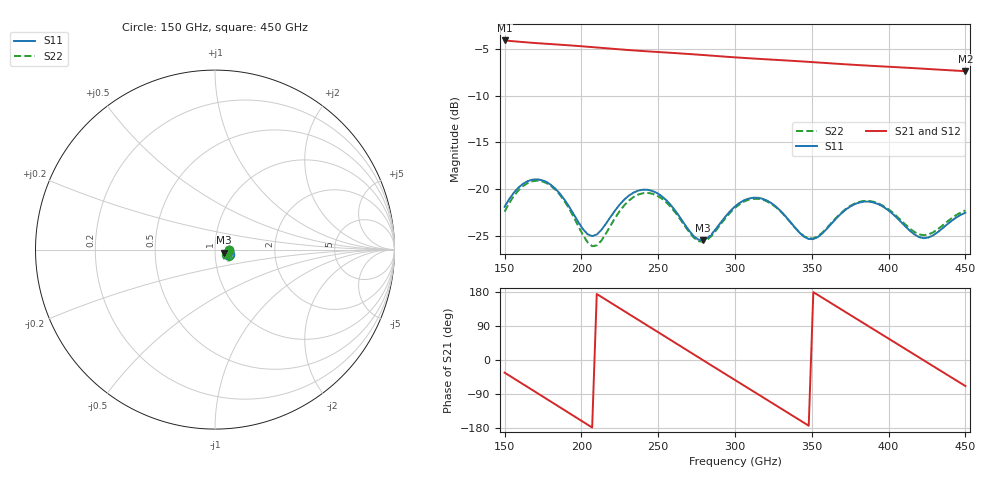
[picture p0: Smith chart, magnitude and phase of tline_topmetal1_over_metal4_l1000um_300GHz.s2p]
#  GHZ S DB R 50
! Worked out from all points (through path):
!   101 points, 150 GHz to 450 GHz, reference 50 ohm
!   highest |S21| = -4.07 dB at 150 GHz (marker M1); lowest = -7.4 dB at 450 GHz (marker M2)
!   group delay of S21, straight-line fit = 6.99 ps
!   lowest |S11| = -25.5 dB at 279 GHz (marker M3), VSWR 1.11, Z = 55.3 - j1.82 ohm
!   |S11| at or under -10 dB: start of sweep to end of sweep
!   |S22| runs from -26.1 to -19.1 dB; largest |S21 - S12| = 6.4e-14
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150  -21.90 -0.6  -4.07 -33.4  -4.07 -33.4  -22.42 -1.0
162  -19.44 -9.4  -4.24 -63.8  -4.24 -63.8  -19.68 -10.0
174  -19.03 -24.3  -4.39 -94.2  -4.39 -94.2  -19.16 -26.0
186  -20.49 -37.1  -4.53 -124.7  -4.53 -124.7  -20.61 -40.4
201  -24.30 -33.6  -4.71 -162.9  -4.71 -162.9  -24.93 -39.4
210  -24.88 -14.8  -4.82 174.2  -4.82 174.2  -26.05 -17.4
231  -20.69 -8.8  -5.10 121.1  -5.10 121.1  -21.23 -7.1
252  -20.73 -30.8  -5.33 68.2  -5.33 68.2  -20.98 -29.8
267  -23.72 -35.7  -5.49 30.3  -5.49 30.3  -23.88 -35.4
279  -25.50 -18.0  -5.63 -0.0  -5.63 -0.0  -25.67 -18.2
300  -21.87 -5.8  -5.88 -52.9  -5.88 -52.9  -22.02 -5.9
312  -20.93 -16.2  -6.01 -82.9  -6.01 -82.9  -21.04 -16.4
324  -21.55 -27.2  -6.13 -113.1  -6.13 -113.1  -21.62 -27.5
339  -24.12 -30.2  -6.27 -150.8  -6.27 -150.8  -24.13 -30.5
351  -25.37 -15.0  -6.40 179.1  -6.40 179.1  -25.29 -15.7
363  -23.68 -3.5  -6.53 149.0  -6.53 149.0  -23.59 -4.9
378  -21.62 -9.6  -6.69 111.4  -6.69 111.4  -21.55 -11.2
390  -21.43 -20.1  -6.80 81.4  -6.80 81.4  -21.35 -21.7
402  -22.57 -28.2  -6.91 51.4  -6.91 51.4  -22.44 -29.9
414  -24.49 -26.8  -7.02 21.3  -7.02 21.3  -24.26 -28.7
426  -25.20 -13.8  -7.13 -8.7  -7.13 -8.7  -24.87 -16.7
450  -22.54 -10.0  -7.36 -68.7  -7.36 -68.7  -22.30 -14.3
